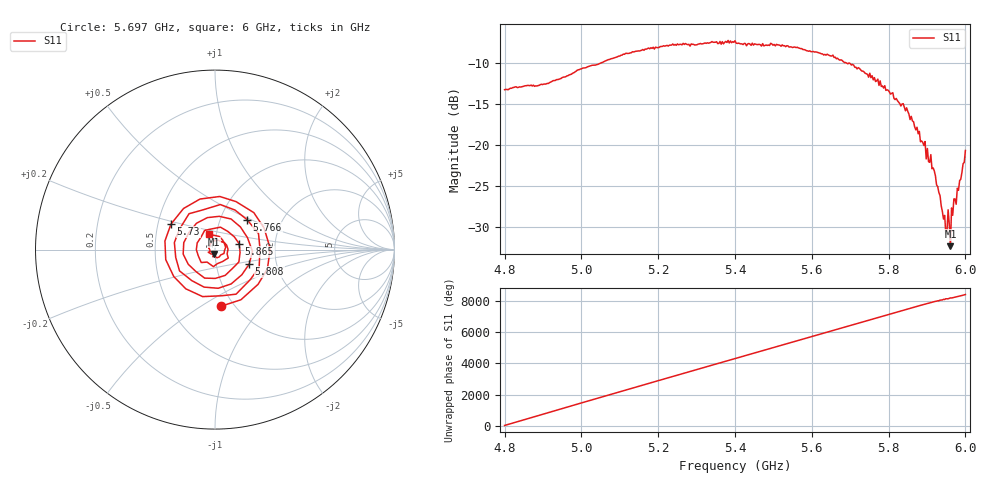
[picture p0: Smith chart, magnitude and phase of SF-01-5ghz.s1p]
! NanoVNA-App
! Date: 2026-05-22 18:27:48
! Start: 4.8GHz Stop: 6GHz Points: 401
! S-Parameter data: F S11
# Hz S RI R 50
!  Frequency  S11_Real  S11_Imag
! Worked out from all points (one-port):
!   401 points, 4.8 GHz to 6 GHz, reference 50 ohm
!   lowest |S11| = -32.3 dB at 5.961 GHz (marker M1), VSWR 1.05, Z = 49.5 - j2.34 ohm
!   |S11| at or under -10 dB: start of sweep to 5.049 GHz; 5.691162 GHz to 5.696103 GHz (4.941 MHz wide, 0.0868 % of centre); 5.698 GHz to end of sweep
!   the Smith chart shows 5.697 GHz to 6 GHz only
!   S11 on the Smith chart (normalised r, x): 5.697 GHz: 0.87, -0.61; 5.73 GHz: 0.59, +0.18; 5.766 GHz: 1.34, +0.48; 5.808 GHz: 1.45, -0.24; 5.865 GHz: 1.31, +0.09; 6 GHz: 0.92, +0.16
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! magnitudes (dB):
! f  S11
! 4.8 GHz  -13.2
! 4.884 GHz  -12.8
! 4.95 GHz  -11.8
! 4.998 GHz  -10.7
! 5.1 GHz  -9.1
! 5.25 GHz  -7.6
! 5.4 GHz  -7.3
! 5.55 GHz  -8.1
! 5.649 GHz  -9.1
! 5.697 GHz  -10.0
! 5.7 GHz  -10.0
! 5.73 GHz  -11.0
! 5.766 GHz  -12.2
! 5.808 GHz  -13.7
! 5.841 GHz  -15.4
! 5.85 GHz  -15.9
! 5.865 GHz  -17.1
! 5.895 GHz  -19.6
! 5.916 GHz  -22.8
! 5.928 GHz  -25.1
! 5.946 GHz  -28.6
! 5.952 GHz  -30.5
! 5.955 GHz  -27.9
! 5.961 GHz  -32.3
! 5.964 GHz  -27.7
! 5.97 GHz  -26.6
! 5.982 GHz  -25.5
! 6 GHz  -20.7
